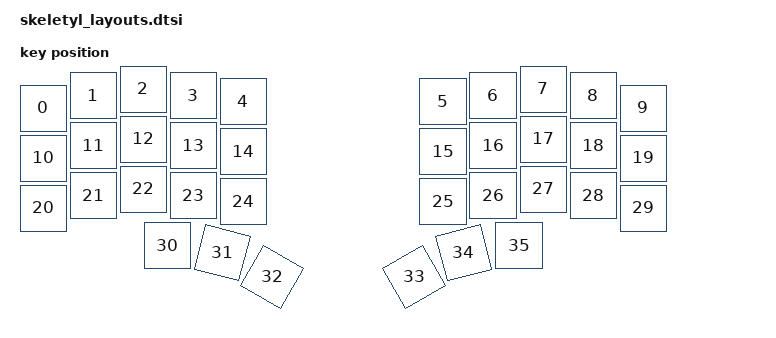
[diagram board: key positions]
#include <physical_layouts.dtsi>


/ {
    physical_layout_0: physical_layout_0 {
        compatible = "zmk,physical-layout";
        display-name = "default transform";

        keys  //                     w   h    x    y     rot    rx    ry
            = <&key_physical_attrs 100 100    0   38       0     0     0>
            , <&key_physical_attrs 100 100  100   13       0     0     0>
            , <&key_physical_attrs 100 100  200    0       0     0     0>
            , <&key_physical_attrs 100 100  300   13       0     0     0>
            , <&key_physical_attrs 100 100  400   25       0     0     0>
            , <&key_physical_attrs 100 100  800   25       0     0     0>
            , <&key_physical_attrs 100 100  900   13       0     0     0>
            , <&key_physical_attrs 100 100 1000    0       0     0     0>
            , <&key_physical_attrs 100 100 1100   13       0     0     0>
            , <&key_physical_attrs 100 100 1200   38       0     0     0>
            , <&key_physical_attrs 100 100    0  138       0     0     0>
            , <&key_physical_attrs 100 100  100  113       0     0     0>
            , <&key_physical_attrs 100 100  200  100       0     0     0>
            , <&key_physical_attrs 100 100  300  113       0     0     0>
            , <&key_physical_attrs 100 100  400  125       0     0     0>
            , <&key_physical_attrs 100 100  800  125       0     0     0>
            , <&key_physical_attrs 100 100  900  113       0     0     0>
            , <&key_physical_attrs 100 100 1000  100       0     0     0>
            , <&key_physical_attrs 100 100 1100  113       0     0     0>
            , <&key_physical_attrs 100 100 1200  138       0     0     0>
            , <&key_physical_attrs 100 100    0  238       0     0     0>
            , <&key_physical_attrs 100 100  100  213       0     0     0>
            , <&key_physical_attrs 100 100  200  200       0     0     0>
            , <&key_physical_attrs 100 100  300  213       0     0     0>
            , <&key_physical_attrs 100 100  400  225       0     0     0>
            , <&key_physical_attrs 100 100  800  225       0     0     0>
            , <&key_physical_attrs 100 100  900  213       0     0     0>
            , <&key_physical_attrs 100 100 1000  200       0     0     0>
            , <&key_physical_attrs 100 100 1100  213       0     0     0>
            , <&key_physical_attrs 100 100 1200  238       0     0     0>
            , <&key_physical_attrs 100 100  248  313       0     0     0>
            , <&key_physical_attrs 100 100  248  313    1500   298   790>
            , <&key_physical_attrs 100 100  248  320    3000   298   790>
            , <&key_physical_attrs 100 100  952  320 (-3000)  1002   790>
            , <&key_physical_attrs 100 100  952  313 (-1500)  1002   790>
            , <&key_physical_attrs 100 100  952  313       0     0     0>
            ;
    };

    position_map {
        compatible = "zmk,physical-layout-position-map";

        complete;

        default_transform {
            physical-layout = <&physical_layout_0>;
            positions
                = < 0  1  2  3  4   5  6  7  8  9>
                , <10 11 12 13 14  15 16 17 18 19>
                , <20 21 22 23 24  25 26 27 28 29>
                , <      30 31 32  33 34 35      >;
        };
    };
};
